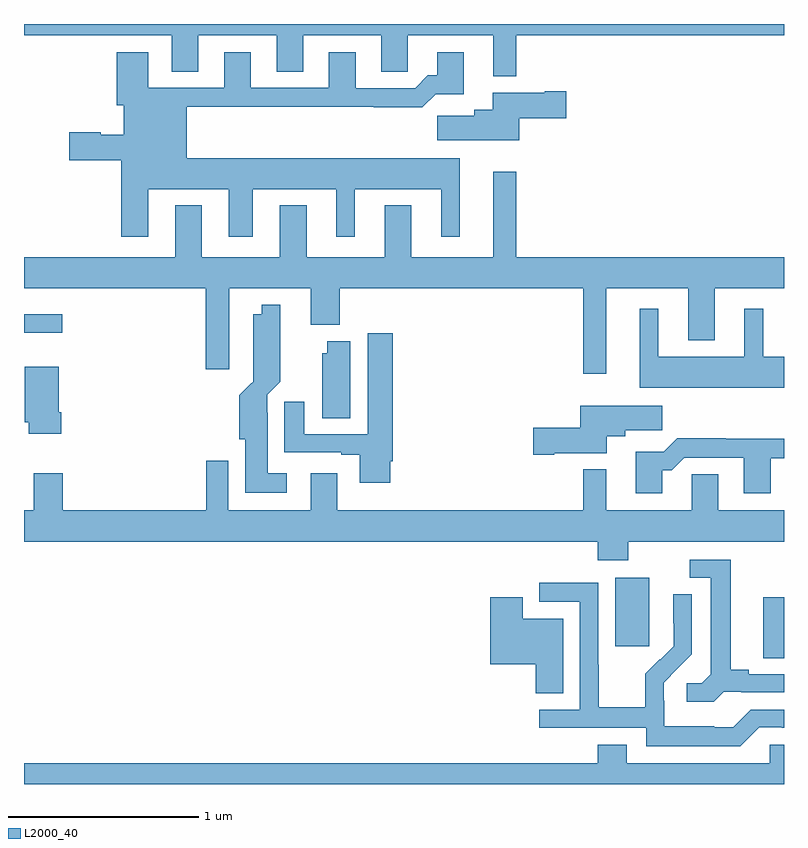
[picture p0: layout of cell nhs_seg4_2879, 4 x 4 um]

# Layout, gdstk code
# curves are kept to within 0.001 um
import gdstk
lib = gdstk.Library(unit=1e-6, precision=1e-09)
def R(c, l, rs):  # rectangles x0, y0, x1, y1
    for r in rs: c.add(gdstk.rectangle(r[:2], r[2:], *l))
def P(c, l, *ps):  # polygons
    for p in ps: c.add(gdstk.Polygon(p, *l))
L2000_40 = (2000, 40)

nhs_seg4_2879 = lib.new_cell('nhs_seg4_2879')
R(nhs_seg4_2879, L2000_40, [(266.891,773.563,267,773.883), (266.111,773.625,266.29,773.986), (263,775.275,263.2,775.372)])
P(nhs_seg4_2879, L2000_40, [(265.591,776.84),(267,776.84),(267,776.9),(263,776.9),(263,776.84),(263.777,776.84),(263.777,776.65),(263.917,776.65),(263.917,776.84),(264.329,776.84),(264.329,776.65),(264.469,776.65),(264.469,776.84),(264.881,776.84),(264.881,776.65),(265.02,776.65),(265.02,776.84),(265.469,776.84),(265.469,776.624),(265.591,776.624)],
  [(263.653,776.03),(264.077,776.03),(264.077,775.779),(264.205,775.779),(264.205,776.03),(264.644,776.03),(264.644,775.779),(264.742,775.779),(264.742,776.03),(265.196,776.03),(265.196,775.779),(265.294,775.779),(265.294,776.194),(263.857,776.194),(263.857,776.464),(264.841,776.464),(264.841,776.462),(265.097,776.462),(265.166,776.531),(265.315,776.531),(265.315,776.752),(265.175,776.752),(265.175,776.629),(265.126,776.629),(265.059,776.562),(264.745,776.562),(264.745,776.752),(264.605,776.752),(264.605,776.565),(264.193,776.565),(264.193,776.752),(264.053,776.752),(264.053,776.565),(263.653,776.565),(263.653,776.752),(263.489,776.752),(263.489,776.472),(263.525,776.472),(263.525,776.317),(263.405,776.317),(263.405,776.33),(263.238,776.33),(263.238,776.183),(263.513,776.183),(263.513,775.779),(263.653,775.779)],
  [(265.606,776.405),(265.855,776.405),(265.855,776.547),(265.742,776.547),(265.742,776.539),(265.466,776.539),(265.466,776.449),(265.37,776.449),(265.37,776.417),(265.176,776.417),(265.176,776.288),(265.606,776.288)],
  [(266.065,775.508),(266.495,775.508),(266.495,775.235),(266.635,775.235),(266.635,775.508),(267,775.508),(267,775.672),(265.591,775.672),(265.591,776.122),(265.469,776.122),(265.469,775.672),(265.039,775.672),(265.039,775.945),(264.899,775.945),(264.899,775.672),(264.487,775.672),(264.487,775.945),(264.347,775.945),(264.347,775.672),(263.935,775.672),(263.935,775.945),(263.795,775.945),(263.795,775.672),(263,775.672),(263,775.508),(263.957,775.508),(263.957,775.083),(264.079,775.083),(264.079,775.508),(264.509,775.508),(264.509,775.316),(264.662,775.316),(264.662,775.508),(265.944,775.508),(265.944,775.059),(266.065,775.059)],
  [(264.382,774.535),(264.283,774.535),(264.283,774.854),(264.279,774.854),(264.279,774.948),(264.349,775.018),(264.348,775.423),(264.251,775.423),(264.251,775.372),(264.206,775.372),(264.206,775.018),(264.134,774.946),(264.134,774.714),(264.164,774.714),(264.164,774.434),(264.382,774.434)],
  [(267,775.15),(266.89,775.15),(266.89,775.402),(266.792,775.402),(266.792,775.15),(266.338,775.15),(266.338,775.402),(266.24,775.402),(266.24,774.986),(267,774.986)],
  [(264.928,774.598),(264.941,774.598),(264.941,775.273),(264.809,775.273),(264.809,774.741),(264.475,774.741),(264.475,774.913),(264.371,774.913),(264.371,774.645),(264.671,774.645),(264.671,774.633),(264.767,774.633),(264.767,774.486),(264.928,774.486)],
  [(264.718,775.231),(264.596,775.231),(264.596,775.167),(264.569,775.167),(264.569,774.826),(264.718,774.826)],
  [(263.195,774.856),(263.182,774.856),(263.182,775.096),(263.003,775.096),(263.003,774.804),(263.024,774.804),(263.024,774.744),(263.195,774.744)],
  [(265.792,774.641),(266.068,774.641),(266.068,774.731),(266.164,774.731),(266.164,774.763),(266.359,774.763),(266.359,774.892),(265.928,774.892),(265.928,774.776),(265.68,774.776),(265.68,774.634),(265.792,774.634)],
  [(266.359,774.551),(266.408,774.551),(266.475,774.618),(266.789,774.618),(266.789,774.429),(266.929,774.429),(266.929,774.615),(267,774.615),(267,774.716),(266.693,774.716),(266.693,774.719),(266.438,774.719),(266.368,774.649),(266.219,774.649),(266.219,774.429),(266.359,774.429)],
  [(266.181,774.176),(267,774.176),(267,774.34),(266.653,774.34),(266.653,774.53),(266.514,774.53),(266.514,774.34),(266.065,774.34),(266.065,774.556),(265.944,774.556),(265.944,774.34),(264.649,774.34),(264.649,774.535),(264.509,774.535),(264.509,774.34),(264.075,774.34),(264.075,774.601),(263.959,774.601),(263.959,774.34),(263.204,774.34),(263.204,774.535),(263.051,774.535),(263.051,774.34),(263,774.34),(263,774.176),(266.021,774.176),(266.021,774.077),(266.181,774.077)],
  [(266.682,773.385),(266.776,773.385),(266.776,773.382),(267,773.382),(267,773.478),(266.815,773.478),(266.815,773.501),(266.719,773.501),(266.719,774.081),(266.505,774.081),(266.505,773.985),(266.615,773.985),(266.615,773.477),(266.568,773.43),(266.487,773.43),(266.487,773.333),(266.63,773.333)],
  [(266.871,773.199),(266.987,773.199),(266.987,773.196),(267,773.196),(267,773.292),(266.826,773.292),(266.733,773.199),(266.633,773.199),(266.633,773.203),(266.37,773.203),(266.37,773.337),(266.368,773.337),(266.368,773.434),(266.514,773.582),(266.514,773.9),(266.418,773.9),(266.418,773.746),(266.42,773.746),(266.42,773.624),(266.349,773.553),(266.346,773.556),(266.269,773.479),(266.269,773.305),(266.025,773.305),(266.025,773.528),(266.022,773.528),(266.022,773.958),(265.713,773.958),(265.713,773.859),(265.926,773.859),(265.926,773.292),(265.713,773.292),(265.713,773.196),(266.274,773.196),(266.274,773.099),(266.771,773.099)],
  [(265.837,773.77),(265.624,773.77),(265.624,773.884),(265.454,773.884),(265.454,773.531),(265.694,773.531),(265.694,773.377),(265.837,773.377)],
  [(267,773.106),(266.925,773.106),(266.925,773.008),(266.173,773.008),(266.173,773.107),(266.021,773.107),(266.021,773.008),(263,773.008),(263,772.9),(267,772.9)])

lib.write_gds('nhs_seg4_2879.gds')
